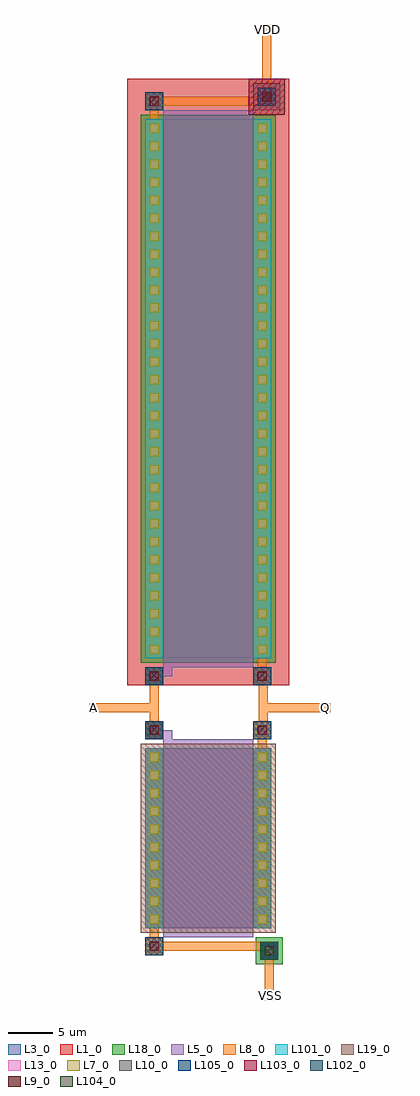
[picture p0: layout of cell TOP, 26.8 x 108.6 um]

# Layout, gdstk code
import gdstk
lib = gdstk.Library(unit=1e-6, precision=1e-07)
def R(c, l, rs):  # rectangles x0, y0, x1, y1
    for r in rs: c.add(gdstk.rectangle(r[:2], r[2:], *l))
L1_0 = (1, 0)
L3_0 = (3, 0)
L5_0 = (5, 0)
L7_0 = (7, 0)
L8_0 = (8, 0)
L9_0 = (9, 0)
L10_0 = (10, 0)
L13_0 = (13, 0)
L18_0 = (18, 0)
L19_0 = (19, 0)
L101_0 = (101, 0)
L102_0 = (102, 0)
L103_0 = (103, 0)
L104_0 = (104, 0)
L105_0 = (105, 0)

dcont_1 = lib.new_cell('dcont$1')
R(dcont_1, L3_0, [(-1,-1,1,1)])
R(dcont_1, L7_0, [(-0.5,-0.5,0.5,0.5)])
R(dcont_1, L8_0, [(-1,-1,1,1)])
R(dcont_1, L13_0, [(-0.5,-0.5,0.5,0.5)])
R(dcont_1, L101_0, [(-1,-1,1,1)])

pcont = lib.new_cell('pcont')
R(pcont, L5_0, [(-1,-1,1,1)])
R(pcont, L7_0, [(-0.5,-0.5,0.5,0.5)])
R(pcont, L8_0, [(-1,-1,1,1)])
R(pcont, L13_0, [(-0.5,-0.5,0.5,0.5)])
R(pcont, L102_0, [(-1,-1,1,1)])

via = lib.new_cell('Via')
R(via, L8_0, [(-1,-1,1,1)])
R(via, L9_0, [(-0.5,-0.5,0.5,0.5)])
R(via, L10_0, [(-1,-1,1,1)])
R(via, L13_0, [(-0.5,-0.5,0.5,0.5)])
R(via, L105_0, [(-1,-1,1,1)])

dcont1 = lib.new_cell('dcont1')
R(dcont1, L3_0, [(-1,-1,1,1)])
R(dcont1, L7_0, [(-0.5,-0.5,0.5,0.5)])
R(dcont1, L8_0, [(-1,-1,1,1)])
R(dcont1, L13_0, [(-0.5,-0.5,0.5,0.5)])
R(dcont1, L101_0, [(-1,-1,1,1)])

nsubcont = lib.new_cell('nsubcont')
R(nsubcont, L1_0, [(-2,-2,2,2)])
R(nsubcont, L19_0, [(-1.5,-1.5,1.5,1.5)])
R(nsubcont, L103_0, [(-2,-2,2,2)])
nsubcont.add(gdstk.Reference(dcont1, (0,0)))

pch = lib.new_cell('Pch')
R(pch, L1_0, [(-2,0,16,67.5)])
R(pch, L3_0, [(0,3,14,63)])
R(pch, L18_0, [(-0.5,2.5,14.5,63.5)])
pch.add(gdstk.FlexPath([(1,3),(1,63)], 2, ends="flush", simple_path=True, layer=8, datatype=0))  # L8_0
pch.add(gdstk.FlexPath([(13,3),(13,63)], 2, ends="flush", simple_path=True, layer=8, datatype=0))  # L8_0
pch.add(gdstk.FlexPath([(1,62),(1,65)], 1, ends="flush", simple_path=True, layer=8, datatype=0))  # L8_0
pch.add(gdstk.FlexPath([(13,1),(13,4)], 1, ends="flush", simple_path=True, layer=8, datatype=0))  # L8_0
pch.add(gdstk.FlexPath([(7,3),(7,63)], 10, ends=(1, 1), simple_path=True, layer=5, datatype=0))  # L5_0
pch.add(gdstk.FlexPath([(1,1.5),(2.5,1.5),(2.5,2)], 1, ends="flush", simple_path=True, layer=5, datatype=0))  # L5_0
pch.add(gdstk.Reference(dcont_1, (1,4)))
pch.add(gdstk.Reference(dcont_1, (1,6)))
pch.add(gdstk.Reference(dcont_1, (1,8)))
pch.add(gdstk.Reference(dcont_1, (1,10)))
pch.add(gdstk.Reference(dcont_1, (1,12)))
pch.add(gdstk.Reference(dcont_1, (1,14)))
pch.add(gdstk.Reference(dcont_1, (1,16)))
pch.add(gdstk.Reference(dcont_1, (1,18)))
pch.add(gdstk.Reference(dcont_1, (1,20)))
pch.add(gdstk.Reference(dcont_1, (1,22)))
pch.add(gdstk.Reference(dcont_1, (1,24)))
pch.add(gdstk.Reference(dcont_1, (1,26)))
pch.add(gdstk.Reference(dcont_1, (1,28)))
pch.add(gdstk.Reference(dcont_1, (1,30)))
pch.add(gdstk.Reference(dcont_1, (1,32)))
pch.add(gdstk.Reference(dcont_1, (1,34)))
pch.add(gdstk.Reference(dcont_1, (1,36)))
pch.add(gdstk.Reference(dcont_1, (1,38)))
pch.add(gdstk.Reference(dcont_1, (1,40)))
pch.add(gdstk.Reference(dcont_1, (1,42)))
pch.add(gdstk.Reference(dcont_1, (1,44)))
pch.add(gdstk.Reference(dcont_1, (1,46)))
pch.add(gdstk.Reference(dcont_1, (1,48)))
pch.add(gdstk.Reference(dcont_1, (1,50)))
pch.add(gdstk.Reference(dcont_1, (1,52)))
pch.add(gdstk.Reference(dcont_1, (1,54)))
pch.add(gdstk.Reference(dcont_1, (1,56)))
pch.add(gdstk.Reference(dcont_1, (1,58)))
pch.add(gdstk.Reference(dcont_1, (1,60)))
pch.add(gdstk.Reference(dcont_1, (1,62)))
pch.add(gdstk.Reference(dcont_1, (13,4)))
pch.add(gdstk.Reference(dcont_1, (13,6)))
pch.add(gdstk.Reference(dcont_1, (13,8)))
pch.add(gdstk.Reference(dcont_1, (13,10)))
pch.add(gdstk.Reference(dcont_1, (13,12)))
pch.add(gdstk.Reference(dcont_1, (13,14)))
pch.add(gdstk.Reference(dcont_1, (13,16)))
pch.add(gdstk.Reference(dcont_1, (13,18)))
pch.add(gdstk.Reference(dcont_1, (13,20)))
pch.add(gdstk.Reference(dcont_1, (13,22)))
pch.add(gdstk.Reference(dcont_1, (13,24)))
pch.add(gdstk.Reference(dcont_1, (13,26)))
pch.add(gdstk.Reference(dcont_1, (13,28)))
pch.add(gdstk.Reference(dcont_1, (13,30)))
pch.add(gdstk.Reference(dcont_1, (13,32)))
pch.add(gdstk.Reference(dcont_1, (13,34)))
pch.add(gdstk.Reference(dcont_1, (13,36)))
pch.add(gdstk.Reference(dcont_1, (13,38)))
pch.add(gdstk.Reference(dcont_1, (13,40)))
pch.add(gdstk.Reference(dcont_1, (13,42)))
pch.add(gdstk.Reference(dcont_1, (13,44)))
pch.add(gdstk.Reference(dcont_1, (13,46)))
pch.add(gdstk.Reference(dcont_1, (13,48)))
pch.add(gdstk.Reference(dcont_1, (13,50)))
pch.add(gdstk.Reference(dcont_1, (13,52)))
pch.add(gdstk.Reference(dcont_1, (13,54)))
pch.add(gdstk.Reference(dcont_1, (13,56)))
pch.add(gdstk.Reference(dcont_1, (13,58)))
pch.add(gdstk.Reference(dcont_1, (13,60)))
pch.add(gdstk.Reference(dcont_1, (13,62)))
pch.add(gdstk.Reference(pcont, (1,1)))
pch.add(gdstk.Reference(via, (1,1)))
pch.add(gdstk.Reference(via, (1,65)))
pch.add(gdstk.Reference(via, (13,1)))
pch.add(gdstk.Reference(nsubcont, (13.5,65.5)))
pch.add(gdstk.Reference(via, (13.5,65.5)))

psubcont = lib.new_cell('psubcont')
R(psubcont, L18_0, [(-1.5,-1.5,1.5,1.5)])
R(psubcont, L104_0, [(-1,-1,1,1)])
psubcont.add(gdstk.Reference(dcont1, (0,0)))

nch = lib.new_cell('Nch')
R(nch, L3_0, [(0,3,14,23)])
R(nch, L19_0, [(-0.5,2.5,14.5,23.5)])
nch.add(gdstk.FlexPath([(1,3),(1,23)], 2, ends="flush", simple_path=True, layer=8, datatype=0))  # L8_0
nch.add(gdstk.FlexPath([(13,3),(13,23)], 2, ends="flush", simple_path=True, layer=8, datatype=0))  # L8_0
nch.add(gdstk.FlexPath([(1,1),(1,4)], 1, ends="flush", simple_path=True, layer=8, datatype=0))  # L8_0
nch.add(gdstk.FlexPath([(13,22),(13,25)], 1, ends="flush", simple_path=True, layer=8, datatype=0))  # L8_0
nch.add(gdstk.FlexPath([(7,3),(7,23)], 10, ends=(1, 1), simple_path=True, layer=5, datatype=0))  # L5_0
nch.add(gdstk.FlexPath([(1,24.5),(2.5,24.5),(2.5,24)], 1, ends="flush", simple_path=True, layer=5, datatype=0))  # L5_0
nch.add(gdstk.Reference(dcont_1, (1,4)))
nch.add(gdstk.Reference(dcont_1, (1,6)))
nch.add(gdstk.Reference(dcont_1, (1,8)))
nch.add(gdstk.Reference(dcont_1, (1,10)))
nch.add(gdstk.Reference(dcont_1, (1,12)))
nch.add(gdstk.Reference(dcont_1, (1,14)))
nch.add(gdstk.Reference(dcont_1, (1,16)))
nch.add(gdstk.Reference(dcont_1, (1,18)))
nch.add(gdstk.Reference(dcont_1, (1,20)))
nch.add(gdstk.Reference(dcont_1, (1,22)))
nch.add(gdstk.Reference(dcont_1, (13,4)))
nch.add(gdstk.Reference(dcont_1, (13,6)))
nch.add(gdstk.Reference(dcont_1, (13,8)))
nch.add(gdstk.Reference(dcont_1, (13,10)))
nch.add(gdstk.Reference(dcont_1, (13,12)))
nch.add(gdstk.Reference(dcont_1, (13,14)))
nch.add(gdstk.Reference(dcont_1, (13,16)))
nch.add(gdstk.Reference(dcont_1, (13,18)))
nch.add(gdstk.Reference(dcont_1, (13,20)))
nch.add(gdstk.Reference(dcont_1, (13,22)))
nch.add(gdstk.Reference(pcont, (1,25)))
nch.add(gdstk.Reference(via, (1,25)))
nch.add(gdstk.Reference(via, (1,1)))
nch.add(gdstk.Reference(via, (13,25)))
nch.add(gdstk.Reference(psubcont, (13.8,0.5)))
nch.add(gdstk.Reference(via, (13.8,0.5)))

top = lib.new_cell('TOP')
top.add(gdstk.FlexPath([(5.1,-4),(5.1,-10.1)], 1, ends="flush", simple_path=True, layer=8, datatype=0))  # L8_0
top.add(gdstk.FlexPath([(-7,-3.9),(-7,-9.9)], 1, ends="flush", simple_path=True, layer=8, datatype=0))  # L8_0
top.add(gdstk.FlexPath([(-6.9,-34),(5.8,-34),(5.8,-40)], 1, ends="flush", simple_path=True, layer=8, datatype=0))  # L8_0
top.add(gdstk.FlexPath([(5.1,-7.5),(12.6,-7.5)], 1, ends="flush", simple_path=True, layer=8, datatype=0))  # L8_0
top.add(gdstk.FlexPath([(-6.9,-7.5),(-14.2,-7.5)], 1, ends="flush", simple_path=True, layer=8, datatype=0))  # L8_0
top.add(gdstk.FlexPath([(-6.9,60),(5.5,60),(5.5,68.6)], 1, ends="flush", simple_path=True, layer=8, datatype=0))  # L8_0
top.add(gdstk.Reference(pch, (-8,-5)))
top.add(gdstk.Reference(nch, (-8,-35)))
top.add(gdstk.Label('VDD', (5.6,68), layer=8, texttype=0))
top.add(gdstk.Label('VSS', (5.9,-39.5), layer=8, texttype=0))
top.add(gdstk.Label('Q', (12,-7.5), layer=8, texttype=0))
top.add(gdstk.Label('A', (-13.8,-7.5), layer=8, texttype=0))

lib.write_gds('TOP.gds')
